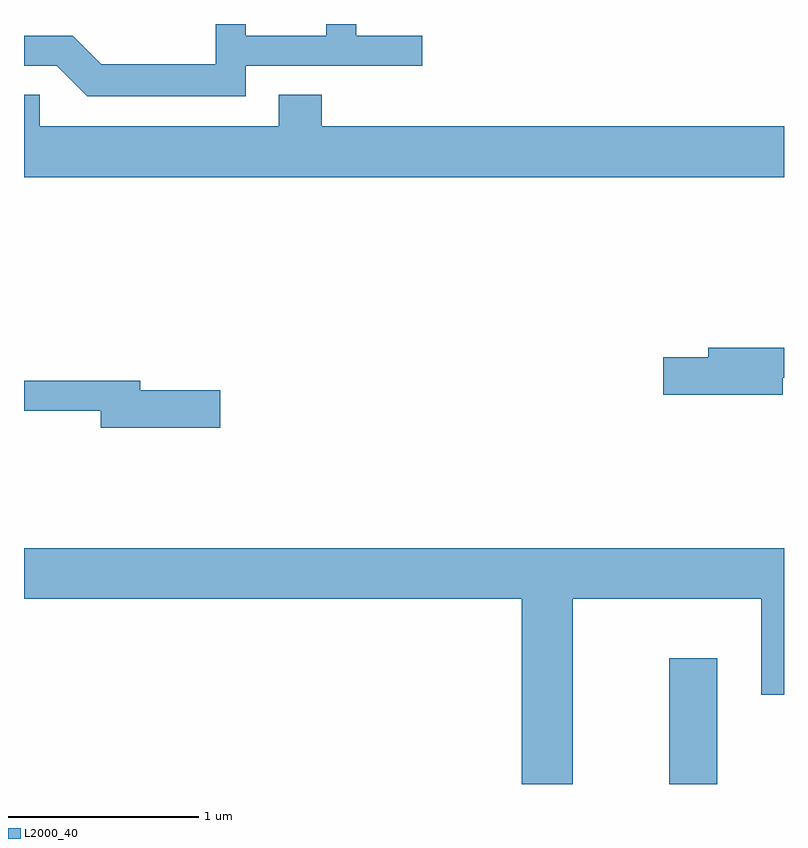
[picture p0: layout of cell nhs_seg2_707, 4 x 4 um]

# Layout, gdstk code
import gdstk
lib = gdstk.Library(unit=1e-6, precision=1e-09)
def R(c, l, rs):  # rectangles x0, y0, x1, y1
    for r in rs: c.add(gdstk.rectangle(r[:2], r[2:], *l))
def P(c, l, *ps):  # polygons
    for p in ps: c.add(gdstk.Polygon(p, *l))
L2000_40 = (2000, 40)

nhs_seg2_707 = lib.new_cell('nhs_seg2_707')
R(nhs_seg2_707, L2000_40, [(209.006,1031.802,209.259,1032.464)])
P(nhs_seg2_707, L2000_40, [(206.779,1035.581),(207.708,1035.581),(207.708,1035.739),(207.359,1035.739),(207.359,1035.802),(207.201,1035.802),(207.201,1035.739),(206.779,1035.739),(206.779,1035.802),(206.621,1035.802),(206.621,1035.589),(206.017,1035.589),(205.867,1035.739),(205.611,1035.739),(205.611,1035.581),(205.784,1035.581),(205.944,1035.421),(206.779,1035.421)],
  [(209.611,1035.264),(207.179,1035.264),(207.179,1035.429),(206.951,1035.429),(206.951,1035.264),(205.694,1035.264),(205.694,1035.429),(205.611,1035.429),(205.611,1034.996),(209.611,1034.996)],
  [(209.604,1033.941),(209.611,1033.941),(209.611,1034.099),(209.211,1034.099),(209.211,1034.049),(208.976,1034.049),(208.976,1033.851),(209.604,1033.851)],
  [(206.644,1033.874),(206.224,1033.874),(206.224,1033.924),(205.611,1033.924),(205.611,1033.766),(206.016,1033.766),(206.016,1033.676),(206.644,1033.676)],
  [(208.499,1032.776),(209.491,1032.776),(209.491,1032.271),(209.611,1032.271),(209.611,1033.044),(205.611,1033.044),(205.611,1032.776),(208.231,1032.776),(208.231,1031.802),(208.499,1031.802)])

lib.write_gds('nhs_seg2_707.gds')
